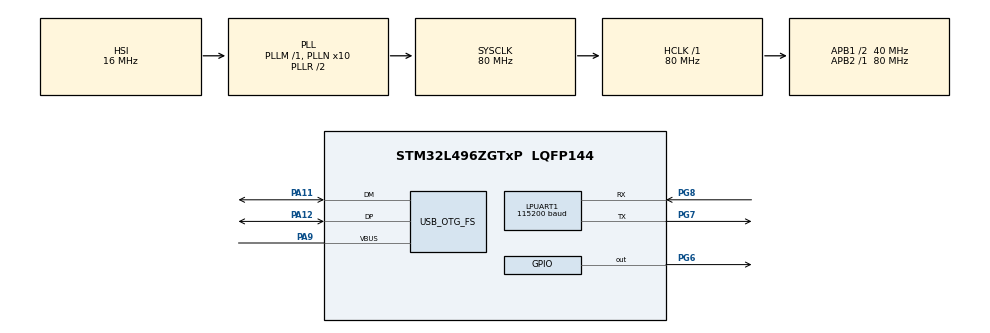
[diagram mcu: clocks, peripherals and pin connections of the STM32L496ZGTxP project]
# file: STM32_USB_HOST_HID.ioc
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LPUART1.BaudRate=115200
LPUART1.WordLength=UART_WORDLENGTH_8B
Mcu.Family=STM32L4
Mcu.Name=STM32L496ZGTxP
Mcu.Package=LQFP144
NVIC.OTG_FS_IRQn=true\:0\:0\:false\:false\:true\:false\:true\:true
NVIC.PriorityGroup=NVIC_PRIORITYGROUP_4
PA11.Mode=Host_Only
PA11.Signal=USB_OTG_FS_DM
PA12.Mode=Host_Only
PA12.Signal=USB_OTG_FS_DP
PA13\ (JTMS/SWDIO).Mode=Serial_Wire
PA13\ (JTMS/SWDIO).Signal=SYS_JTMS-SWDIO
PA14\ (JTCK/SWCLK).Mode=Serial_Wire
PA14\ (JTCK/SWCLK).Signal=SYS_JTCK-SWCLK
PA9.Mode=Activate_VBUS
PA9.Signal=USB_OTG_FS_VBUS
PG6.PinState=GPIO_PIN_SET
PG6.Signal=GPIO_Output
PG7.Mode=Asynchronous
PG7.Signal=LPUART1_TX
PG8.Mode=Asynchronous
PG8.Signal=LPUART1_RX
ProjectManager.HeapSize=0x200
ProjectManager.StackSize=0x400
ProjectManager.TargetToolchain=STM32CubeIDE
RCC.48MHZClocksFreq_Value=24000000
RCC.ADCFreq_Value=64000000
RCC.AHBFreq_Value=80000000
RCC.APB1CLKDivider=RCC_HCLK_DIV2
RCC.APB1Freq_Value=40000000
RCC.APB1TimFreq_Value=80000000
RCC.APB2Freq_Value=80000000
RCC.APB2TimFreq_Value=80000000
RCC.CK48CLockSelection=RCC_USBCLKSOURCE_HSI48
RCC.CortexFreq_Value=80000000
RCC.HCLKFreq_Value=80000000
RCC.HSE_VALUE=8000000
RCC.HSI48_VALUE=48000000
RCC.HSI_VALUE=16000000
RCC.LSE_VALUE=32768
RCC.MSI_VALUE=4000000
RCC.PLLMUL=RCC_PLL_MUL9
RCC.PLLN=10
RCC.PLLSourceVirtual=RCC_PLLSOURCE_HSI
RCC.PRESCALERUSB=RCC_USBCLKSOURCE_PLL_DIV1_5
RCC.SYSCLKFreq_VALUE=80000000
RCC.SYSCLKSource=RCC_SYSCLKSOURCE_PLLCLK
RCC.SYSCLKSourceVirtual=RCC_SYSCLKSOURCE_PLLCLK
RCC.USBFreq_Value=48000000
RCC.VCOOutputFreq_Value=160000000
USB_HOST.USBH_DEBUG_LEVEL=3
USB_HOST.USBH_HandleTypeDef=hUsbHostFS
USB_HOST.VirtualModeFS=Hid
USB_OTG_FS.VirtualMode=Host_Only
USB_OTG_FS.phy_itface=HCD_PHY_EMBEDDED
VP_USB_HOST_VS_USB_HOST_HID_FS.Mode=HID_FS
board=NUCLEO-L496ZG-P

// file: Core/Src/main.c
/* USER CODE BEGIN Header */
/**
  ******************************************************************************
  * @file           : main.c
  * @brief          : Main program body
  ******************************************************************************
  * @attention
  *
  * Copyright (c) 2026 STMicroelectronics.
  * All rights reserved.
  *
  * This software is licensed under terms that can be found in the LICENSE file
  * in the root directory of this software component.
  * If no LICENSE file comes with this software, it is provided AS-IS.
  *
  ******************************************************************************
  */
/* USER CODE END Header */
#include "main.h"
#include "usb_host.h"

/* USER CODE BEGIN Includes */
#include "usbh_hid.h"
/* USER CODE END Includes */

UART_HandleTypeDef hlpuart1;

void SystemClock_Config(void);
static void MX_GPIO_Init(void);
static void MX_LPUART1_UART_Init(void);
void MX_USB_HOST_Process(void);

/* USER CODE BEGIN 0 */

int _write(int fd, unsigned char *buf, int len) {
  if (fd == 1 || fd == 2) {
    HAL_UART_Transmit(&hlpuart1, buf, len, 999);
  }
  return len;
}

void USBH_HID_EventCallback(USBH_HandleTypeDef *phost)
{
	if (USBH_HID_GetDeviceType(phost) == HID_KEYBOARD)
	{
		uint8_t key;
		HID_KEYBD_Info_TypeDef *keyboard_info;
		keyboard_info = USBH_HID_GetKeybdInfo(phost);
		key = USBH_HID_GetASCIICode(keyboard_info);
		if (key != '\0') printf ("Key: %c\r\n", key);
	}

	if (USBH_HID_GetDeviceType(phost) == HID_MOUSE)
	{
		HID_MOUSE_Info_TypeDef *mouse_info;
		mouse_info = USBH_HID_GetMouseInfo(phost);
		int xVal = mouse_info->x;
		int yVal = mouse_info->y;
		int b0 = mouse_info->buttons[0];
		int b1 = mouse_info->buttons[1];
		int b2 = mouse_info->buttons[2];

		if (xVal > 127) xVal -= 255;
		if (yVal > 127) yVal -= 255;

		printf ("x: %d, y: %d, b0: %d, b1: %d, b2: %d\r\n", xVal, yVal, b0, b1, b2);

//		uint8_t *buf = phost->device.Data;
//		for(int i=0;i<8;i++)
//		{
//		    printf("%02X ", buf[i]);
//		}
//		printf("\r\n");

	}
}

/* USER CODE END 0 */

int main(void)
{

  /* MCU Configuration--------------------------------------------------------*/

  /* Reset of all peripherals, Initializes the Flash interface and the Systick. */
  HAL_Init();

  /* Configure the system clock */
  SystemClock_Config();

  /* Initialize all configured peripherals */
  MX_GPIO_Init();
  MX_LPUART1_UART_Init();
  MX_USB_HOST_Init();

  /* Infinite loop */
  while (1)
  {
    MX_USB_HOST_Process();

  }
}

void SystemClock_Config(void)
{
  RCC_OscInitTypeDef RCC_OscInitStruct = {0};
  RCC_ClkInitTypeDef RCC_ClkInitStruct = {0};

  /** Configure the main internal regulator output voltage
  */
  if (HAL_PWREx_ControlVoltageScaling(PWR_REGULATOR_VOLTAGE_SCALE1) != HAL_OK)
  {
    Error_Handler();
  }

  /** Initializes the RCC Oscillators according to the specified parameters
  * in the RCC_OscInitTypeDef structure.
  */
  RCC_OscInitStruct.OscillatorType = RCC_OSCILLATORTYPE_HSI48|RCC_OSCILLATORTYPE_HSI;
  RCC_OscInitStruct.HSIState = RCC_HSI_ON;
  RCC_OscInitStruct.HSI48State = RCC_HSI48_ON;
  RCC_OscInitStruct.HSICalibrationValue = RCC_HSICALIBRATION_DEFAULT;
  RCC_OscInitStruct.PLL.PLLState = RCC_PLL_ON;
  RCC_OscInitStruct.PLL.PLLSource = RCC_PLLSOURCE_HSI;
  RCC_OscInitStruct.PLL.PLLM = 1;
  RCC_OscInitStruct.PLL.PLLN = 10;
  RCC_OscInitStruct.PLL.PLLP = RCC_PLLP_DIV2;
  RCC_OscInitStruct.PLL.PLLQ = RCC_PLLQ_DIV2;
  RCC_OscInitStruct.PLL.PLLR = RCC_PLLR_DIV2;
  if (HAL_RCC_OscConfig(&RCC_OscInitStruct) != HAL_OK)
  {
    Error_Handler();
  }

  /** Initializes the CPU, AHB and APB buses clocks
  */
  RCC_ClkInitStruct.ClockType = RCC_CLOCKTYPE_HCLK|RCC_CLOCKTYPE_SYSCLK
                              |RCC_CLOCKTYPE_PCLK1|RCC_CLOCKTYPE_PCLK2;
  RCC_ClkInitStruct.SYSCLKSource = RCC_SYSCLKSOURCE_PLLCLK;
  RCC_ClkInitStruct.AHBCLKDivider = RCC_SYSCLK_DIV1;
  RCC_ClkInitStruct.APB1CLKDivider = RCC_HCLK_DIV2;
  RCC_ClkInitStruct.APB2CLKDivider = RCC_HCLK_DIV1;

  if (HAL_RCC_ClockConfig(&RCC_ClkInitStruct, FLASH_LATENCY_4) != HAL_OK)
  {
    Error_Handler();
  }
}

static void MX_LPUART1_UART_Init(void)
{

  hlpuart1.Instance = LPUART1;
  hlpuart1.Init.BaudRate = 115200;
  hlpuart1.Init.WordLength = UART_WORDLENGTH_8B;
  hlpuart1.Init.StopBits = UART_STOPBITS_1;
  hlpuart1.Init.Parity = UART_PARITY_NONE;
  hlpuart1.Init.Mode = UART_MODE_TX_RX;
  hlpuart1.Init.HwFlowCtl = UART_HWCONTROL_NONE;
  hlpuart1.Init.OneBitSampling = UART_ONE_BIT_SAMPLE_DISABLE;
  hlpuart1.AdvancedInit.AdvFeatureInit = UART_ADVFEATURE_NO_INIT;
  if (HAL_UART_Init(&hlpuart1) != HAL_OK)
  {
    Error_Handler();
  }

}

static void MX_GPIO_Init(void)
{
  GPIO_InitTypeDef GPIO_InitStruct = {0};

  /* GPIO Ports Clock Enable */
  __HAL_RCC_GPIOG_CLK_ENABLE();
  HAL_PWREx_EnableVddIO2();
  __HAL_RCC_GPIOA_CLK_ENABLE();

  /*Configure GPIO pin Output Level */
  HAL_GPIO_WritePin(GPIOG, GPIO_PIN_6, GPIO_PIN_SET);

  /*Configure GPIO pin : PG6 */
  GPIO_InitStruct.Pin = GPIO_PIN_6;
  GPIO_InitStruct.Mode = GPIO_MODE_OUTPUT_PP;
  GPIO_InitStruct.Pull = GPIO_NOPULL;
  GPIO_InitStruct.Speed = GPIO_SPEED_FREQ_LOW;
  HAL_GPIO_Init(GPIOG, &GPIO_InitStruct);

}

void Error_Handler(void)
{
  __disable_irq();
  while (1)
  {
  }
}
